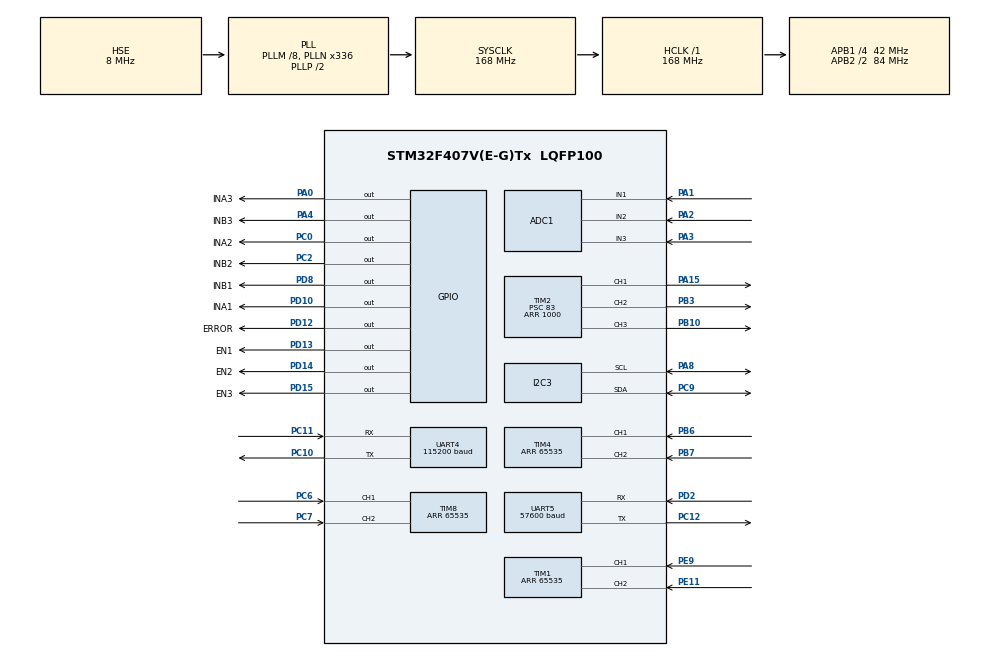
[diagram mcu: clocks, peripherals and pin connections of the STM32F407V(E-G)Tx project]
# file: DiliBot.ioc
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ADC1.Channel-0\#ChannelRegularConversion=ADC_CHANNEL_1
ADC1.NbrOfConversionFlag=1
ADC1.Rank-0\#ChannelRegularConversion=1
ADC1.SamplingTime-0\#ChannelRegularConversion=ADC_SAMPLETIME_3CYCLES
ADC1.master=1
Dma.Request0=UART5_RX
Dma.Request1=UART4_TX
Dma.UART4_TX.1.Direction=DMA_MEMORY_TO_PERIPH
Dma.UART4_TX.1.FIFOMode=DMA_FIFOMODE_DISABLE
Dma.UART4_TX.1.Instance=DMA1_Stream4
Dma.UART4_TX.1.MemDataAlignment=DMA_MDATAALIGN_BYTE
Dma.UART4_TX.1.MemInc=DMA_MINC_ENABLE
Dma.UART4_TX.1.Mode=DMA_NORMAL
Dma.UART4_TX.1.PeriphDataAlignment=DMA_PDATAALIGN_BYTE
Dma.UART4_TX.1.PeriphInc=DMA_PINC_DISABLE
Dma.UART4_TX.1.Priority=DMA_PRIORITY_LOW
Dma.UART5_RX.0.Direction=DMA_PERIPH_TO_MEMORY
Dma.UART5_RX.0.FIFOMode=DMA_FIFOMODE_DISABLE
Dma.UART5_RX.0.Instance=DMA1_Stream0
Dma.UART5_RX.0.MemDataAlignment=DMA_MDATAALIGN_BYTE
Dma.UART5_RX.0.MemInc=DMA_MINC_ENABLE
Dma.UART5_RX.0.Mode=DMA_CIRCULAR
Dma.UART5_RX.0.PeriphDataAlignment=DMA_PDATAALIGN_BYTE
Dma.UART5_RX.0.PeriphInc=DMA_PINC_DISABLE
Dma.UART5_RX.0.Priority=DMA_PRIORITY_VERY_HIGH
Mcu.Family=STM32F4
Mcu.Name=STM32F407V(E-G)Tx
Mcu.Package=LQFP100
NVIC.DMA1_Stream0_IRQn=true\:0\:0\:false\:false\:true\:false
NVIC.DMA1_Stream4_IRQn=true\:0\:0\:false\:false\:true\:false
NVIC.PriorityGroup=NVIC_PRIORITYGROUP_4
NVIC.TIM6_DAC_IRQn=true\:0\:0\:false\:false\:true\:true
NVIC.UART4_IRQn=true\:0\:0\:false\:false\:true\:true
PA0-WKUP.GPIO_Label=INA3
PA0-WKUP.GPIO_PuPd=GPIO_NOPULL
PA0-WKUP.GPIO_Speed=GPIO_SPEED_FREQ_HIGH
PA0-WKUP.PinState=GPIO_PIN_SET
PA0-WKUP.Signal=GPIO_Output
PA1.Signal=ADCx_IN1
PA15.Signal=S_TIM2_CH1_ETR
PA2.Signal=ADCx_IN2
PA3.Signal=ADCx_IN3
PA4.GPIO_Label=INB3
PA4.GPIO_PuPd=GPIO_PULLDOWN
PA4.GPIO_Speed=GPIO_SPEED_FREQ_HIGH
PA4.PinState=GPIO_PIN_SET
PA4.Signal=GPIO_Output
PA8.Mode=I2C
PA8.Signal=I2C3_SCL
PB10.Signal=S_TIM2_CH3
PB3.Signal=S_TIM2_CH2
PB6.GPIO_PuPd=GPIO_PULLUP
PB6.Signal=S_TIM4_CH1
PB7.GPIO_PuPd=GPIO_PULLUP
PB7.Signal=S_TIM4_CH2
PC0.GPIO_Label=INA2
PC0.GPIO_PuPd=GPIO_PULLDOWN
PC0.GPIO_Speed=GPIO_SPEED_FREQ_HIGH
PC0.PinState=GPIO_PIN_SET
PC0.Signal=GPIO_Output
PC10.Mode=Asynchronous
PC10.Signal=UART4_TX
PC11.Mode=Asynchronous
PC11.Signal=UART4_RX
PC12.Mode=Asynchronous
PC12.Signal=UART5_TX
PC2.GPIO_Label=INB2
PC2.GPIO_PuPd=GPIO_PULLDOWN
PC2.GPIO_Speed=GPIO_SPEED_FREQ_HIGH
PC2.PinState=GPIO_PIN_SET
PC2.Signal=GPIO_Output
PC6.GPIO_PuPd=GPIO_PULLUP
PC6.Signal=S_TIM8_CH1
PC7.GPIO_PuPd=GPIO_PULLUP
PC7.Signal=S_TIM8_CH2
PC9.Mode=I2C
PC9.Signal=I2C3_SDA
PD10.GPIO_Label=INA1
PD10.GPIO_PuPd=GPIO_PULLDOWN
PD10.GPIO_Speed=GPIO_SPEED_FREQ_HIGH
PD10.PinState=GPIO_PIN_SET
PD10.Signal=GPIO_Output
PD12.GPIO_Label=ERROR
PD12.GPIO_PuPd=GPIO_PULLDOWN
PD12.GPIO_Speed=GPIO_SPEED_FREQ_HIGH
PD12.PinState=GPIO_PIN_SET
PD12.Signal=GPIO_Output
PD13.GPIO_Label=EN1
PD13.GPIO_PuPd=GPIO_PULLDOWN
PD13.GPIO_Speed=GPIO_SPEED_FREQ_HIGH
PD13.PinState=GPIO_PIN_SET
PD13.Signal=GPIO_Output
PD14.GPIO_Label=EN2
PD14.GPIO_PuPd=GPIO_PULLDOWN
PD14.GPIO_Speed=GPIO_SPEED_FREQ_HIGH
PD14.PinState=GPIO_PIN_SET
PD14.Signal=GPIO_Output
PD15.GPIO_Label=EN3
PD15.GPIO_PuPd=GPIO_PULLDOWN
PD15.GPIO_Speed=GPIO_SPEED_FREQ_HIGH
PD15.PinState=GPIO_PIN_SET
PD15.Signal=GPIO_Output
PD2.Mode=Asynchronous
PD2.Signal=UART5_RX
PD8.GPIO_Label=INB1
PD8.GPIO_PuPd=GPIO_PULLDOWN
PD8.GPIO_Speed=GPIO_SPEED_FREQ_HIGH
PD8.PinState=GPIO_PIN_SET
PD8.Signal=GPIO_Output
PE11.GPIO_PuPd=GPIO_PULLUP
PE11.Signal=S_TIM1_CH2
PE9.GPIO_PuPd=GPIO_PULLUP
PE9.Signal=S_TIM1_CH1
PH0-OSC_IN.Mode=HSE-External-Oscillator
PH0-OSC_IN.Signal=RCC_OSC_IN
PH1-OSC_OUT.Mode=HSE-External-Oscillator
PH1-OSC_OUT.Signal=RCC_OSC_OUT
ProjectManager.HeapSize=0x200
ProjectManager.StackSize=0x400
ProjectManager.TargetToolchain=MDK-ARM V5
RCC.48MHZClocksFreq_Value=84000000
RCC.AHBFreq_Value=168000000
RCC.APB1CLKDivider=RCC_HCLK_DIV4
RCC.APB1Freq_Value=42000000
RCC.APB1TimFreq_Value=84000000
RCC.APB2CLKDivider=RCC_HCLK_DIV2
RCC.APB2Freq_Value=84000000
RCC.APB2TimFreq_Value=168000000
RCC.CortexFreq_Value=168000000
RCC.HCLKFreq_Value=168000000
RCC.HSE_VALUE=8000000
RCC.HSI_VALUE=16000000
RCC.LSE_VALUE=32768
RCC.PLLM=8
RCC.PLLN=336
RCC.PLLSourceVirtual=RCC_PLLSOURCE_HSE
RCC.SYSCLKFreq_VALUE=168000000
RCC.SYSCLKSource=RCC_SYSCLKSOURCE_PLLCLK
RCC.VCOOutputFreq_Value=336000000
SH.ADCx_IN1.0=ADC1_IN1,IN1
SH.ADCx_IN2.0=ADC1_IN2,IN2
SH.ADCx_IN3.0=ADC1_IN3,IN3
SH.S_TIM1_CH1.0=TIM1_CH1,Encoder_Interface
SH.S_TIM1_CH2.0=TIM1_CH2,Encoder_Interface
SH.S_TIM2_CH1_ETR.0=TIM2_CH1,PWM Generation1 CH1
SH.S_TIM2_CH2.0=TIM2_CH2,PWM Generation2 CH2
SH.S_TIM2_CH3.0=TIM2_CH3,PWM Generation3 CH3
SH.S_TIM4_CH1.0=TIM4_CH1,Encoder_Interface
SH.S_TIM4_CH2.0=TIM4_CH2,Encoder_Interface
SH.S_TIM8_CH1.0=TIM8_CH1,Encoder_Interface
SH.S_TIM8_CH2.0=TIM8_CH2,Encoder_Interface
TIM1.CounterMode=TIM_COUNTERMODE_UP
TIM1.EncoderMode=TIM_ENCODERMODE_TI12
TIM1.Period=65535
TIM2.Channel-PWM\ Generation1\ CH1=TIM_CHANNEL_1
TIM2.Channel-PWM\ Generation2\ CH2=TIM_CHANNEL_2
TIM2.Channel-PWM\ Generation3\ CH3=TIM_CHANNEL_3
TIM2.Period=1000
TIM2.Prescaler=83
TIM4.CounterMode=TIM_COUNTERMODE_UP
TIM4.EncoderMode=TIM_ENCODERMODE_TI12
TIM4.Period=65535
TIM6.Period=9
TIM6.Prescaler=839
TIM8.CounterMode=TIM_COUNTERMODE_UP
TIM8.EncoderMode=TIM_ENCODERMODE_TI12
TIM8.Period=65535
UART4.BaudRate=115200
UART4.VirtualMode=Asynchronous
UART5.BaudRate=57600
UART5.VirtualMode=Asynchronous
VP_TIM6_VS_ClockSourceINT.Mode=Enable_Timer
board=CheckSPI

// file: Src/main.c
/* USER CODE BEGIN Header */
/**
  ******************************************************************************
  * @file           : main.c
  * @brief          : Main program body
  ******************************************************************************
  ** This notice applies to any and all portions of this file
  * that are not between comment pairs USER CODE BEGIN and
  * USER CODE END. Other portions of this file, whether
  * inserted by the user or by software development tools
  * are owned by their respective copyright owners.
  *
  * COPYRIGHT(c) 2019 STMicroelectronics
  *
  * Redistribution and use in source and binary forms, with or without modification,
  * are permitted provided that the following conditions are met:
  *   1. Redistributions of source code must retain the above copyright notice,
  *      this list of conditions and the following disclaimer.
  *   2. Redistributions in binary form must reproduce the above copyright notice,
  *      this list of conditions and the following disclaimer in the documentation
  *      and/or other materials provided with the distribution.
  *   3. Neither the name of STMicroelectronics nor the names of its contributors
  *      may be used to endorse or promote products derived from this software
  *      without specific prior written permission.
  *
  * THIS SOFTWARE IS PROVIDED BY THE COPYRIGHT HOLDERS AND CONTRIBUTORS "AS IS"
  * AND ANY EXPRESS OR IMPLIED WARRANTIES, INCLUDING, BUT NOT LIMITED TO, THE
  * IMPLIED WARRANTIES OF MERCHANTABILITY AND FITNESS FOR A PARTICULAR PURPOSE ARE
  * DISCLAIMED. IN NO EVENT SHALL THE COPYRIGHT HOLDER OR CONTRIBUTORS BE LIABLE
  * FOR ANY DIRECT, INDIRECT, INCIDENTAL, SPECIAL, EXEMPLARY, OR CONSEQUENTIAL
  * DAMAGES (INCLUDING, BUT NOT LIMITED TO, PROCUREMENT OF SUBSTITUTE GOODS OR
  * SERVICES; LOSS OF USE, DATA, OR PROFITS; OR BUSINESS INTERRUPTION) HOWEVER
  * CAUSED AND ON ANY THEORY OF LIABILITY, WHETHER IN CONTRACT, STRICT LIABILITY,
  * OR TORT (INCLUDING NEGLIGENCE OR OTHERWISE) ARISING IN ANY WAY OUT OF THE USE
  * OF THIS SOFTWARE, EVEN IF ADVISED OF THE POSSIBILITY OF SUCH DAMAGE.
  *
  ******************************************************************************
  */
/* USER CODE END Header */

#include "main.h"

/* USER CODE BEGIN Includes */
#include <math.h>
#include <string.h>

#include "timer.h"
#include "app.h"
#include "driver.h"

//#include "balancing.h"
//#include "calib_sensor.h"
#include "dilibot.h"
#include "../Matlab/pid_my_ert_rtw/pid_my.h"
/* USER CODE END Includes */

/* USER CODE BEGIN PD */
//#define LOG_SYSTEM       1
/* USER CODE END PD */

ADC_HandleTypeDef hadc1;

I2C_HandleTypeDef hi2c3;

TIM_HandleTypeDef htim1;
TIM_HandleTypeDef htim2;
TIM_HandleTypeDef htim4;
TIM_HandleTypeDef htim6;
TIM_HandleTypeDef htim8;

UART_HandleTypeDef huart4;
UART_HandleTypeDef huart5;
DMA_HandleTypeDef hdma_uart4_tx;
DMA_HandleTypeDef hdma_uart5_rx;

/* USER CODE BEGIN PV */
float imu_value_f[3]; /* IMU data buffer */
// #TEST Tick 1ms and 5ms count
uint32_t ms1_tick_count = 0; /* Count each 1ms from 0 -> 4*/
uint32_t ms5_tick_count = 0; /* Count each 5ms */

/* USER CODE END PV */

void SystemClock_Config(void);
static void MX_GPIO_Init(void);
static void MX_DMA_Init(void);
static void MX_TIM1_Init(void);
static void MX_TIM8_Init(void);
static void MX_UART5_Init(void);
static void MX_TIM2_Init(void);
static void MX_TIM4_Init(void);
static void MX_ADC1_Init(void);
static void MX_UART4_Init(void);
static void MX_TIM6_Init(void);
static void MX_I2C3_Init(void);
/* USER CODE BEGIN PFP */
void PID_MotorTestProcess(void);
/* USER CODE END PFP */

/* USER CODE BEGIN 0 */

void PID_MotorTestProcess(void) {
  uint8_t buff[20];
  int8_t start;
  uint8_t error_msg_buff[45] = "No motor running, can't stop anything :)\n";
  MotorIndex motor_running;
  int udk;
  static uint32_t tick_5ms;

  HAL_UART_Receive(&huart4, buff, 1, 1);
  if (buff[0] == 'a') start = 0;
  else if (buff[0] == 'b') start = 1;
  else if (buff[0] == 'c') start = 2;
  else if (buff[0] == 'r') start = 9;
  else if (buff[0] == 's') start = -1;
  else if (buff[0] == 'f') start = -9;
  else start = -99;
  // Check PID matlab code gen
  if (start >= 0 && start != 9) {
    motor_running = (MotorIndex)start;
    if (tick_5ms != ms5_tick_count) {
      tick_5ms = ms5_tick_count;
      In2 = (double)encoder_ReadMotor(motor_running);
      // rt_OneStep();
      Out1 = Out1*800/12;
      udk = (int)Out1;
      motor_SetSpeed(motor_running, udk);
    }
  }
  else if (start == -1) {
    if (motor_running != MOTOR_NONE)
      motor_SetSpeed(motor_running, 0);
    else
      dma_printf(error_msg_buff, 44);
  }
  else if (start == -9)
    motor_DisableAll();
  else if (start == 9)
    motor_EnableAll();
  else { // start == -99
    motor_SetSpeed(MOTOR_1, 0);
    HAL_Delay(20);
    motor_SetSpeed(MOTOR_2, 0);
    HAL_Delay(20);
    motor_SetSpeed(MOTOR_3, 0);
  }
}

/* USER CODE END 0 */

int main(void)
{
  /* USER CODE BEGIN 1 */
  int config_status = 0;
  uint8_t hello_buff[31] = "Dili-Bot Hello World 2019 ^^\r\n";
  /* USER CODE END 1 */

  /* MCU Configuration--------------------------------------------------------*/

  /* Reset of all peripherals, Initializes the Flash interface and the Systick. */
  HAL_Init();

  /* Configure the system clock */
  SystemClock_Config();

  /* Initialize all configured peripherals */
  MX_GPIO_Init();
  MX_DMA_Init();
  MX_TIM1_Init();
  MX_TIM8_Init();
  MX_UART5_Init();
  MX_TIM2_Init();
  MX_TIM4_Init();
  MX_ADC1_Init();
  MX_UART4_Init();
  MX_TIM6_Init();
  MX_I2C3_Init();
  /* USER CODE BEGIN 2 */

  /// Dili-Bot hello world and checking debug message
  HAL_UART_Transmit_DMA(&huart4, (uint8_t*)hello_buff, strlen((char*)hello_buff));
  /// Initialize motor and encoder
  config_status  = motor_Init();
  config_status += encoder_Init();
  if (config_status != 0) Error_Handler();
  motor_DisableAll();
  HAL_Delay(500);

  /// PID initialization
  // TODO: This is for test
  pid_my_initialize();

  /// Start system timer tick
  HAL_TIM_Base_Start_IT(&htim6);
//  /// Initialize sensor process and register sensor event
//  sensor_calibInit();
//  /// Initialize ballbot balance and register balance process event
//  ballbot_balanceInit();
  /// One process dilibot
  if (0 != dilibot_sensorCalibInit()) {
    Error_Handler();
  }
  /// Enable all motor
  motor_EnableAll();
  /// Configurate IMU and start binary streaming
  /// Uncommand these three lines when we ready to read IMU
  config_status  = imu_CmdInit();
  config_status += imu_StartIRQ(imu_value_f, 12);
  if (config_status != 0) Error_Handler();
  /* USER CODE END 2 */

  /* Infinite loop */
  /* USER CODE BEGIN WHILE */
  while (1)
  {
    // Uncommand this line to check motor control API
    // PID_MotorTestProcess();
    system_processSystemState();

    /* USER CODE END WHILE */

  }
}

void SystemClock_Config(void)
{
  RCC_OscInitTypeDef RCC_OscInitStruct = {0};
  RCC_ClkInitTypeDef RCC_ClkInitStruct = {0};

  /**Configure the main internal regulator output voltage
  */
  __HAL_RCC_PWR_CLK_ENABLE();
  __HAL_PWR_VOLTAGESCALING_CONFIG(PWR_REGULATOR_VOLTAGE_SCALE1);
  /**Initializes the CPU, AHB and APB busses clocks
  */
  RCC_OscInitStruct.OscillatorType = RCC_OSCILLATORTYPE_HSE;
  RCC_OscInitStruct.HSEState = RCC_HSE_ON;
  RCC_OscInitStruct.PLL.PLLState = RCC_PLL_ON;
  RCC_OscInitStruct.PLL.PLLSource = RCC_PLLSOURCE_HSE;
  RCC_OscInitStruct.PLL.PLLM = 8;
  RCC_OscInitStruct.PLL.PLLN = 336;
  RCC_OscInitStruct.PLL.PLLP = RCC_PLLP_DIV2;
  RCC_OscInitStruct.PLL.PLLQ = 4;
  if (HAL_RCC_OscConfig(&RCC_OscInitStruct) != HAL_OK)
  {
    Error_Handler();
  }
  /**Initializes the CPU, AHB and APB busses clocks
  */
  RCC_ClkInitStruct.ClockType = RCC_CLOCKTYPE_HCLK|RCC_CLOCKTYPE_SYSCLK
                              |RCC_CLOCKTYPE_PCLK1|RCC_CLOCKTYPE_PCLK2;
  RCC_ClkInitStruct.SYSCLKSource = RCC_SYSCLKSOURCE_PLLCLK;
  RCC_ClkInitStruct.AHBCLKDivider = RCC_SYSCLK_DIV1;
  RCC_ClkInitStruct.APB1CLKDivider = RCC_HCLK_DIV4;
  RCC_ClkInitStruct.APB2CLKDivider = RCC_HCLK_DIV2;

  if (HAL_RCC_ClockConfig(&RCC_ClkInitStruct, FLASH_LATENCY_5) != HAL_OK)
  {
    Error_Handler();
  }
}

static void MX_ADC1_Init(void)
{

  ADC_ChannelConfTypeDef sConfig = {0};

  /**Configure the global features of the ADC (Clock, Resolution, Data Alignment and number of conversion)
  */
  hadc1.Instance = ADC1;
  hadc1.Init.ClockPrescaler = ADC_CLOCK_SYNC_PCLK_DIV4;
  hadc1.Init.Resolution = ADC_RESOLUTION_12B;
  hadc1.Init.ScanConvMode = DISABLE;
  hadc1.Init.ContinuousConvMode = DISABLE;
  hadc1.Init.DiscontinuousConvMode = DISABLE;
  hadc1.Init.ExternalTrigConvEdge = ADC_EXTERNALTRIGCONVEDGE_NONE;
  hadc1.Init.ExternalTrigConv = ADC_SOFTWARE_START;
  hadc1.Init.DataAlign = ADC_DATAALIGN_RIGHT;
  hadc1.Init.NbrOfConversion = 1;
  hadc1.Init.DMAContinuousRequests = DISABLE;
  hadc1.Init.EOCSelection = ADC_EOC_SINGLE_CONV;
  if (HAL_ADC_Init(&hadc1) != HAL_OK)
  {
    Error_Handler();
  }
  /**Configure for the selected ADC regular channel its corresponding rank in the sequencer and its sample time.
  */
  sConfig.Channel = ADC_CHANNEL_1;
  sConfig.Rank = 1;
  sConfig.SamplingTime = ADC_SAMPLETIME_3CYCLES;
  if (HAL_ADC_ConfigChannel(&hadc1, &sConfig) != HAL_OK)
  {
    Error_Handler();
  }

}

static void MX_I2C3_Init(void)
{

  hi2c3.Instance = I2C3;
  hi2c3.Init.ClockSpeed = 100000;
  hi2c3.Init.DutyCycle = I2C_DUTYCYCLE_2;
  hi2c3.Init.OwnAddress1 = 0;
  hi2c3.Init.AddressingMode = I2C_ADDRESSINGMODE_7BIT;
  hi2c3.Init.DualAddressMode = I2C_DUALADDRESS_DISABLE;
  hi2c3.Init.OwnAddress2 = 0;
  hi2c3.Init.GeneralCallMode = I2C_GENERALCALL_DISABLE;
  hi2c3.Init.NoStretchMode = I2C_NOSTRETCH_DISABLE;
  if (HAL_I2C_Init(&hi2c3) != HAL_OK)
  {
    Error_Handler();
  }

}

static void MX_TIM1_Init(void)
{

  TIM_Encoder_InitTypeDef sConfig = {0};
  TIM_MasterConfigTypeDef sMasterConfig = {0};

  htim1.Instance = TIM1;
  htim1.Init.Prescaler = 0;
  htim1.Init.CounterMode = TIM_COUNTERMODE_UP;
  htim1.Init.Period = 65535;
  htim1.Init.ClockDivision = TIM_CLOCKDIVISION_DIV1;
  htim1.Init.RepetitionCounter = 0;
  sConfig.EncoderMode = TIM_ENCODERMODE_TI12;
  sConfig.IC1Polarity = TIM_ICPOLARITY_RISING;
  sConfig.IC1Selection = TIM_ICSELECTION_DIRECTTI;
  sConfig.IC1Prescaler = TIM_ICPSC_DIV1;
  sConfig.IC1Filter = 0;
  sConfig.IC2Polarity = TIM_ICPOLARITY_RISING;
  sConfig.IC2Selection = TIM_ICSELECTION_DIRECTTI;
  sConfig.IC2Prescaler = TIM_ICPSC_DIV1;
  sConfig.IC2Filter = 0;
  if (HAL_TIM_Encoder_Init(&htim1, &sConfig) != HAL_OK)
  {
    Error_Handler();
  }
  sMasterConfig.MasterOutputTrigger = TIM_TRGO_RESET;
  sMasterConfig.MasterSlaveMode = TIM_MASTERSLAVEMODE_DISABLE;
  if (HAL_TIMEx_MasterConfigSynchronization(&htim1, &sMasterConfig) != HAL_OK)
  {
    Error_Handler();
  }

}

static void MX_TIM2_Init(void)
{

  TIM_MasterConfigTypeDef sMasterConfig = {0};
  TIM_OC_InitTypeDef sConfigOC = {0};

  htim2.Instance = TIM2;
  htim2.Init.Prescaler = 83;
  htim2.Init.CounterMode = TIM_COUNTERMODE_UP;
  htim2.Init.Period = 1000;
  htim2.Init.ClockDivision = TIM_CLOCKDIVISION_DIV1;
  if (HAL_TIM_PWM_Init(&htim2) != HAL_OK)
  {
    Error_Handler();
  }
  sMasterConfig.MasterOutputTrigger = TIM_TRGO_RESET;
  sMasterConfig.MasterSlaveMode = TIM_MASTERSLAVEMODE_DISABLE;
  if (HAL_TIMEx_MasterConfigSynchronization(&htim2, &sMasterConfig) != HAL_OK)
  {
    Error_Handler();
  }
  sConfigOC.OCMode = TIM_OCMODE_PWM1;
  sConfigOC.Pulse = 0;
  sConfigOC.OCPolarity = TIM_OCPOLARITY_HIGH;
  sConfigOC.OCFastMode = TIM_OCFAST_DISABLE;
  if (HAL_TIM_PWM_ConfigChannel(&htim2, &sConfigOC, TIM_CHANNEL_1) != HAL_OK)
  {
    Error_Handler();
  }
  if (HAL_TIM_PWM_ConfigChannel(&htim2, &sConfigOC, TIM_CHANNEL_2) != HAL_OK)
  {
    Error_Handler();
  }
  if (HAL_TIM_PWM_ConfigChannel(&htim2, &sConfigOC, TIM_CHANNEL_3) != HAL_OK)
  {
    Error_Handler();
  }
  HAL_TIM_MspPostInit(&htim2);

}

static void MX_TIM4_Init(void)
{

  TIM_Encoder_InitTypeDef sConfig = {0};
  TIM_MasterConfigTypeDef sMasterConfig = {0};

  htim4.Instance = TIM4;
  htim4.Init.Prescaler = 0;
  htim4.Init.CounterMode = TIM_COUNTERMODE_UP;
  htim4.Init.Period = 65535;
  htim4.Init.ClockDivision = TIM_CLOCKDIVISION_DIV1;
  sConfig.EncoderMode = TIM_ENCODERMODE_TI12;
  sConfig.IC1Polarity = TIM_ICPOLARITY_RISING;
  sConfig.IC1Selection = TIM_ICSELECTION_DIRECTTI;
  sConfig.IC1Prescaler = TIM_ICPSC_DIV1;
  sConfig.IC1Filter = 0;
  sConfig.IC2Polarity = TIM_ICPOLARITY_RISING;
  sConfig.IC2Selection = TIM_ICSELECTION_DIRECTTI;
  sConfig.IC2Prescaler = TIM_ICPSC_DIV1;
  sConfig.IC2Filter = 0;
  if (HAL_TIM_Encoder_Init(&htim4, &sConfig) != HAL_OK)
  {
    Error_Handler();
  }
  sMasterConfig.MasterOutputTrigger = TIM_TRGO_RESET;
  sMasterConfig.MasterSlaveMode = TIM_MASTERSLAVEMODE_DISABLE;
  if (HAL_TIMEx_MasterConfigSynchronization(&htim4, &sMasterConfig) != HAL_OK)
  {
    Error_Handler();
  }

}

static void MX_TIM6_Init(void)
{

  TIM_MasterConfigTypeDef sMasterConfig = {0};

  htim6.Instance = TIM6;
  htim6.Init.Prescaler = 839;
  htim6.Init.CounterMode = TIM_COUNTERMODE_UP;
  htim6.Init.Period = 9;
  if (HAL_TIM_Base_Init(&htim6) != HAL_OK)
  {
    Error_Handler();
  }
  sMasterConfig.MasterOutputTrigger = TIM_TRGO_RESET;
  sMasterConfig.MasterSlaveMode = TIM_MASTERSLAVEMODE_DISABLE;
  if (HAL_TIMEx_MasterConfigSynchronization(&htim6, &sMasterConfig) != HAL_OK)
  {
    Error_Handler();
  }

}

static void MX_TIM8_Init(void)
{

  TIM_Encoder_InitTypeDef sConfig = {0};
  TIM_MasterConfigTypeDef sMasterConfig = {0};

  htim8.Instance = TIM8;
  htim8.Init.Prescaler = 0;
  htim8.Init.CounterMode = TIM_COUNTERMODE_UP;
  htim8.Init.Period = 65535;
  htim8.Init.ClockDivision = TIM_CLOCKDIVISION_DIV1;
  htim8.Init.RepetitionCounter = 0;
  sConfig.EncoderMode = TIM_ENCODERMODE_TI12;
  sConfig.IC1Polarity = TIM_ICPOLARITY_RISING;
  sConfig.IC1Selection = TIM_ICSELECTION_DIRECTTI;
  sConfig.IC1Prescaler = TIM_ICPSC_DIV1;
  sConfig.IC1Filter = 0;
  sConfig.IC2Polarity = TIM_ICPOLARITY_RISING;
  sConfig.IC2Selection = TIM_ICSELECTION_DIRECTTI;
  sConfig.IC2Prescaler = TIM_ICPSC_DIV1;
  sConfig.IC2Filter = 0;
  if (HAL_TIM_Encoder_Init(&htim8, &sConfig) != HAL_OK)
  {
    Error_Handler();
  }
  sMasterConfig.MasterOutputTrigger = TIM_TRGO_RESET;
  sMasterConfig.MasterSlaveMode = TIM_MASTERSLAVEMODE_DISABLE;
  if (HAL_TIMEx_MasterConfigSynchronization(&htim8, &sMasterConfig) != HAL_OK)
  {
    Error_Handler();
  }

}

static void MX_UART4_Init(void)
{

  huart4.Instance = UART4;
  huart4.Init.BaudRate = 115200;
  huart4.Init.WordLength = UART_WORDLENGTH_8B;
  huart4.Init.StopBits = UART_STOPBITS_1;
  huart4.Init.Parity = UART_PARITY_NONE;
  huart4.Init.Mode = UART_MODE_TX_RX;
  huart4.Init.HwFlowCtl = UART_HWCONTROL_NONE;
  huart4.Init.OverSampling = UART_OVERSAMPLING_16;
  if (HAL_UART_Init(&huart4) != HAL_OK)
  {
    Error_Handler();
  }

}

static void MX_UART5_Init(void)
{

  huart5.Instance = UART5;
  huart5.Init.BaudRate = 57600;
  huart5.Init.WordLength = UART_WORDLENGTH_8B;
  huart5.Init.StopBits = UART_STOPBITS_1;
  huart5.Init.Parity = UART_PARITY_NONE;
  huart5.Init.Mode = UART_MODE_TX_RX;
  huart5.Init.HwFlowCtl = UART_HWCONTROL_NONE;
  huart5.Init.OverSampling = UART_OVERSAMPLING_16;
  if (HAL_UART_Init(&huart5) != HAL_OK)
  {
    Error_Handler();
  }

}

static void MX_DMA_Init(void)
{
  /* DMA controller clock enable */
  __HAL_RCC_DMA1_CLK_ENABLE();

  /* DMA interrupt init */
  /* DMA1_Stream0_IRQn interrupt configuration */
  HAL_NVIC_SetPriority(DMA1_Stream0_IRQn, 0, 0);
  HAL_NVIC_EnableIRQ(DMA1_Stream0_IRQn);
  /* DMA1_Stream4_IRQn interrupt configuration */
  HAL_NVIC_SetPriority(DMA1_Stream4_IRQn, 0, 0);
  HAL_NVIC_EnableIRQ(DMA1_Stream4_IRQn);

}

static void MX_GPIO_Init(void)
{
  GPIO_InitTypeDef GPIO_InitStruct = {0};

  /* GPIO Ports Clock Enable */
  __HAL_RCC_GPIOH_CLK_ENABLE();
  __HAL_RCC_GPIOC_CLK_ENABLE();
  __HAL_RCC_GPIOA_CLK_ENABLE();
  __HAL_RCC_GPIOE_CLK_ENABLE();
  __HAL_RCC_GPIOB_CLK_ENABLE();
  __HAL_RCC_GPIOD_CLK_ENABLE();

  /*Configure GPIO pin Output Level */
  HAL_GPIO_WritePin(GPIOC, INA2_Pin|INB2_Pin, GPIO_PIN_SET);

  /*Configure GPIO pin Output Level */
  HAL_GPIO_WritePin(GPIOA, INA3_Pin|INB3_Pin, GPIO_PIN_SET);

  /*Configure GPIO pin Output Level */
  HAL_GPIO_WritePin(GPIOD, INB1_Pin|INA1_Pin|ERROR_Pin|EN1_Pin
                          |EN2_Pin|EN3_Pin, GPIO_PIN_SET);

  /*Configure GPIO pins : INA2_Pin INB2_Pin */
  GPIO_InitStruct.Pin = INA2_Pin|INB2_Pin;
  GPIO_InitStruct.Mode = GPIO_MODE_OUTPUT_PP;
  GPIO_InitStruct.Pull = GPIO_PULLDOWN;
  GPIO_InitStruct.Speed = GPIO_SPEED_FREQ_HIGH;
  HAL_GPIO_Init(GPIOC, &GPIO_InitStruct);

  /*Configure GPIO pin : INA3_Pin */
  GPIO_InitStruct.Pin = INA3_Pin;
  GPIO_InitStruct.Mode = GPIO_MODE_OUTPUT_PP;
  GPIO_InitStruct.Pull = GPIO_NOPULL;
  GPIO_InitStruct.Speed = GPIO_SPEED_FREQ_HIGH;
  HAL_GPIO_Init(INA3_GPIO_Port, &GPIO_InitStruct);

  /*Configure GPIO pin : INB3_Pin */
  GPIO_InitStruct.Pin = INB3_Pin;
  GPIO_InitStruct.Mode = GPIO_MODE_OUTPUT_PP;
  GPIO_InitStruct.Pull = GPIO_PULLDOWN;
  GPIO_InitStruct.Speed = GPIO_SPEED_FREQ_HIGH;
  HAL_GPIO_Init(INB3_GPIO_Port, &GPIO_InitStruct);

  /*Configure GPIO pins : INB1_Pin INA1_Pin ERROR_Pin EN1_Pin
                           EN2_Pin EN3_Pin */
  GPIO_InitStruct.Pin = INB1_Pin|INA1_Pin|ERROR_Pin|EN1_Pin
                          |EN2_Pin|EN3_Pin;
  GPIO_InitStruct.Mode = GPIO_MODE_OUTPUT_PP;
  GPIO_InitStruct.Pull = GPIO_PULLDOWN;
  GPIO_InitStruct.Speed = GPIO_SPEED_FREQ_HIGH;
  HAL_GPIO_Init(GPIOD, &GPIO_InitStruct);

}

/* USER CODE BEGIN 4 */
/* This is source code out of configuration **********************************/
void HAL_UART_TxCpltCallback(UART_HandleTypeDef *huart) {
  //HAL_GPIO_TogglePin(GPIOD, GPIO_PIN_12);
}

void HAL_UART_RxCpltCallback(UART_HandleTypeDef *huart) {
  HAL_GPIO_TogglePin(GPIOD, GPIO_PIN_12);
}

/// @brief Timer6 application tick service routine
/// @param htim Pointer to timer handling, now we take care of timer 6 handle
//  *Note:  Timer 6 configurate to tick each 1/10 ms
//          If we need an 5ms -> set up 50 ticks
void HAL_TIM_PeriodElapsedCallback(TIM_HandleTypeDef *htim) {
  if (TIM6 == htim->Instance) {
    TIMER_ISR();
  }
}

/* USER CODE END 4 */

void Error_Handler(void)
{
  /* USER CODE BEGIN Error_Handler_Debug */
  /* User can add his own implementation to report the HAL error return state */
  while(1) {
    HAL_GPIO_TogglePin(GPIOD, GPIO_PIN_12);
    HAL_Delay(200);
  }
  /* USER CODE END Error_Handler_Debug */
}

/************************ (C) COPYRIGHT STMicroelectronics *****END OF FILE****/
